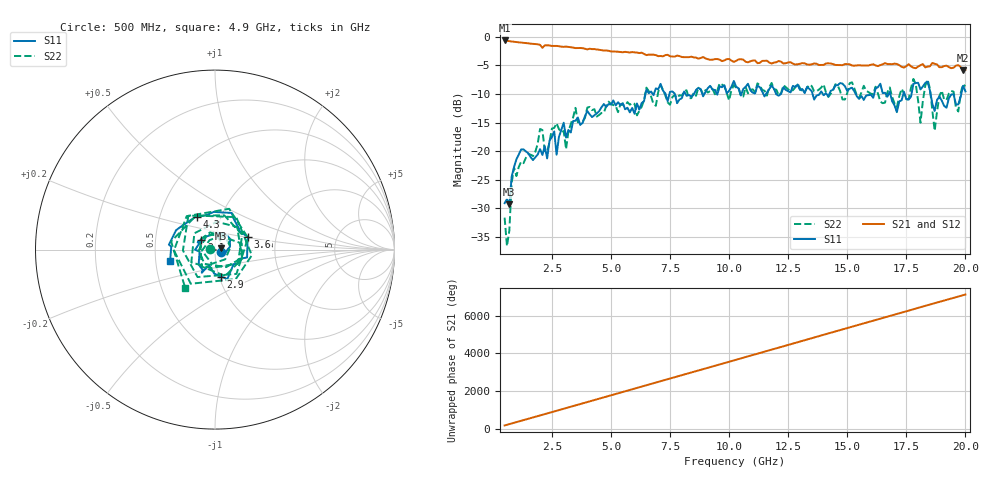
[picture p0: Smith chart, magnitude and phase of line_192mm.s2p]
!Created with skrf (http://scikit-rf.org).
# GHz S RI R 50.0
!freq ReS11 ImS11 ReS21 ImS21 ReS12 ImS12 ReS22 ImS22
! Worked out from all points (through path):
!   196 points, 500 MHz to 20 GHz, reference 50 ohm
!   highest |S21| = -0.62 dB at 500 MHz (marker M1); lowest = -5.8 dB at 19.9 GHz (marker M2)
!   lowest |S11| = -29.3 dB at 700 MHz (marker M3), VSWR 1.07, Z = 53.5 + j0.789 ohm
!   |S11| at or under -10 dB: start of sweep to 6.461 GHz; 15.36 GHz to 16.14 GHz (780.2 MHz wide, 4.95 % of centre); 18.53 GHz to 19.83 GHz (1.298 GHz wide, 6.77 % of centre)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
!   |S22| runs from -36.6 to -7.4 dB; largest |S21 - S12| = 0.46
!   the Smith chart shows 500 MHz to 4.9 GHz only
!   S11 on the Smith chart (normalised r, x): 500 MHz: 1.07, -0.03; 2.1 GHz: 0.85, +0.09; 2.9 GHz: 1.02, -0.31; 3.6 GHz: 1.44, +0.21; 4.3 GHz: 0.77, +0.29; 4.9 GHz: 0.60, -0.08
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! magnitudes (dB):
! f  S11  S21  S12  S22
! 500 MHz  -29.1  -0.6  -0.6  -31.6
! 700 MHz  -29.3  -0.7  -0.8  -33.9
! 900 MHz  -22.8  -0.8  -0.9  -22.9
! 2.1 GHz  -20.7  -1.9  -1.9  -16.3
! 2.9 GHz  -16.3  -1.7  -1.8  -16.7
! 3.6 GHz  -14.1  -2.0  -2.0  -15.0
! 3.8 GHz  -15.0  -2.0  -2.0  -14.9
! 4.3 GHz  -13.7  -2.1  -2.2  -12.6
! 4.9 GHz  -11.8  -2.4  -2.5  -11.3
! 7 GHz  -9.2  -3.4  -3.4  -9.7
! 10.3 GHz  -8.7  -4.2  -4.2  -8.9
! 13.5 GHz  -9.5  -4.8  -4.8  -8.6
! 16.8 GHz  -9.6  -4.8  -4.8  -8.8
! 17.1 GHz  -13.2  -4.7  -4.8  -12.3
! 17.8 GHz  -8.2  -5.4  -5.5  -7.4
! 18.1 GHz  -9.2  -4.9  -4.9  -15.0
! 18.4 GHz  -7.8  -5.2  -5.3  -7.5
! 18.7 GHz  -12.9  -4.7  -4.7  -16.4
! 19 GHz  -11.2  -5.3  -5.3  -9.4
! 19.7 GHz  -11.8  -4.9  -5.0  -13.0
! 19.9 GHz  -8.5  -5.8  -5.8  -8.3
! 20 GHz  -9.5  -5.8  -5.8  -8.6
